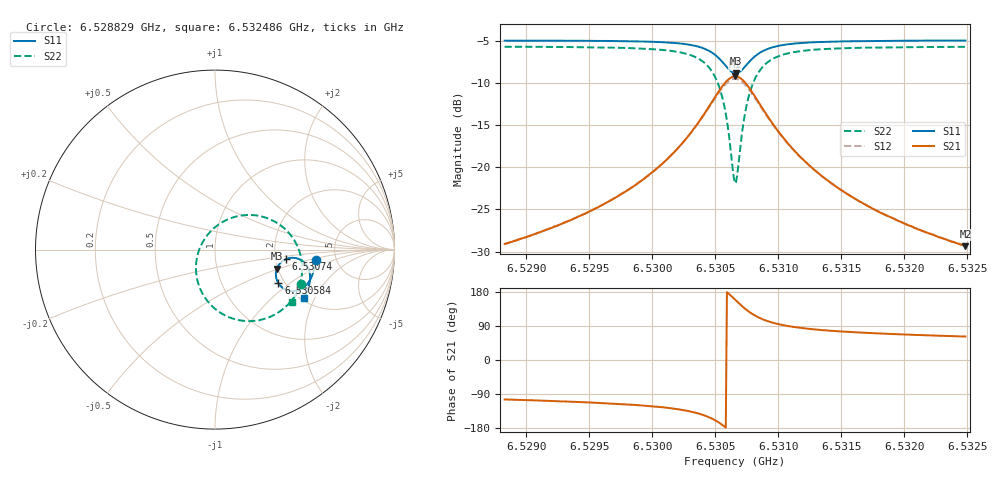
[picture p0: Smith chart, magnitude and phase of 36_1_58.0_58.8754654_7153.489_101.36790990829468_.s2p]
#  HZ  S  RI  R  50.00
! Rohde & Schwarz Vector Network Analyzer
! Rohde-Schwarz,ZNB20-2Port,1311601062101988,3.16
! Created: UTC 3/21/2024, 12:51:53 AM
! freq[Hz]  re:S11  im:S11  re:S21  im:S21  re:S12  im:S12  re:S22  im:S22
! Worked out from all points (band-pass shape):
!   401 points, 6.528829 GHz to 6.532486 GHz, reference 50 ohm
!   highest |S21| = -9.22 dB at 6.530658 GHz (marker M1); lowest = -29.4 dB at 6.532486 GHz (marker M2)
!   |S21| within 3 dB of the highest: 6.530476 GHz to 6.530842 GHz (365.8 kHz wide, 0.0056 % of centre)
!   lowest |S11| = -8.9 dB at 6.530667 GHz (marker M3), VSWR 2.13, Z = 98.8 - j24 ohm
!   |S11| at or under -10 dB: nowhere
!   |S22| runs from -21.9 to -5.7 dB; largest |S21 - S12| = 0.015
!   S11 on the Smith chart (normalised r, x): 6.528829 GHz: 3.47, -0.60; 6.530584 GHz: 1.85, -0.83; 6.53074 GHz: 2.28, -0.29; 6.532486 GHz: 2.08, -1.66
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6.5288293e9  0.5608 -0.0594  -0.00859 -0.0341  -0.00918 -0.0339  0.4818 -0.192
6.5294418e9  0.5513 -0.1127  -0.0188 -0.0486  -0.02 -0.0482  0.4489 -0.2539
6.5298165e9  0.5388 -0.1505  -0.0342 -0.0655  -0.0361 -0.0649  0.4092 -0.3038
6.5300542e9  0.5235 -0.1793  -0.056 -0.0838  -0.0586 -0.0822  0.3602 -0.3453
6.5302736e9  0.4932 -0.2114  -0.1033 -0.1075  -0.1067 -0.1037  0.2651 -0.3889
6.530429e9  0.4434 -0.2308  -0.1831 -0.1144  -0.1859 -0.106  0.1187 -0.3899
6.5305204e9  0.3919 -0.2219  -0.2642 -0.0808  -0.2624 -0.0688  -0.0151 -0.3163
6.530557e9  0.3686 -0.2059  -0.2988 -0.0461  -0.2937 -0.0336  -0.0667 -0.2506
6.5305844e9  0.3532 -0.1872  -0.3204 -0.00922  -0.3123 0.00257  -0.0947 -0.1844
6.5306392e9  0.3393 -0.1344  -0.3328 0.0876  -0.3198 0.094  -0.0953 -0.0227
6.5306575e9  0.3421 -0.1151  -0.3241 0.1212  -0.3106 0.1254  -0.0742 0.0311
6.5306667e9  0.3449 -0.1058  -0.3173 0.1376  -0.3036 0.1405  -0.06 0.0562
6.5306849e9  0.3537 -0.0884  -0.2991 0.1674  -0.2859 0.1679  -0.0244 0.1015
6.5307032e9  0.3654 -0.0735  -0.2762 0.1925  -0.264 0.191  0.0179 0.1382
6.5307398e9  0.3945 -0.0533  -0.2225 0.2254  -0.2135 0.2215  0.1118 0.1827
6.5308038e9  0.4448 -0.0464  -0.1344 0.236  -0.1299 0.2318  0.2612 0.1843
6.5308952e9  0.4914 -0.0668  -0.0552 0.2048  -0.0535 0.2024  0.3906 0.1144
6.5310323e9  0.52 -0.1045  -0.00637 0.152  -0.00533 0.1513  0.464 0.0076
6.53127e9  0.5299 -0.1515  0.0151 0.0979  0.0162 0.0977  0.4859 -0.1048
6.5315259e9  0.5269 -0.1858  0.0187 0.0687  0.0197 0.0684  0.4788 -0.1712
6.5318824e9  0.5172 -0.2218  0.0183 0.0475  0.0192 0.0472  0.4614 -0.2281
6.5324857e9  0.4964 -0.2706  0.016 0.0301  0.0168 0.03  0.4298 -0.2892
